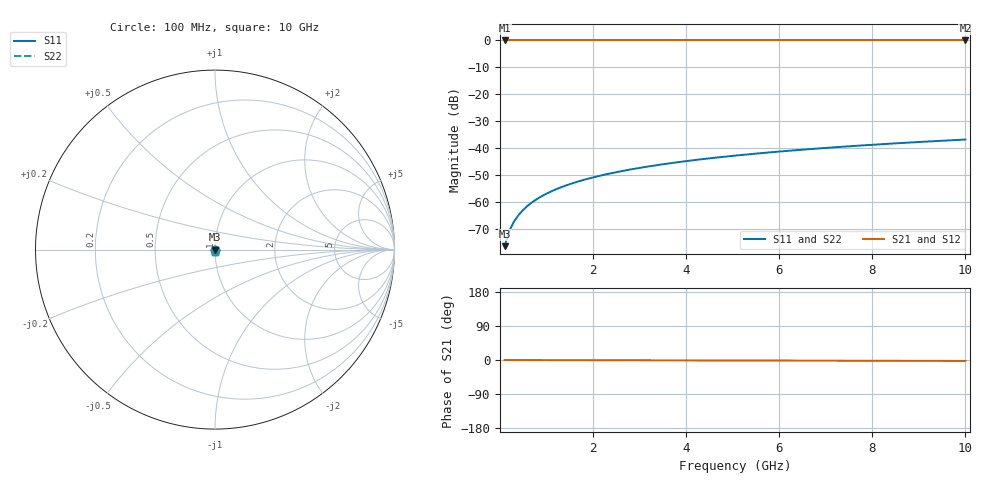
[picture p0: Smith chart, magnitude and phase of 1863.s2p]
# Hz S RI R 50.00
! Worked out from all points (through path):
!   100 points, 100 MHz to 10 GHz, reference 50 ohm
!   highest |S21| = 0.00 dB at 100 MHz (marker M1); lowest = 0.0 dB at 10 GHz (marker M2)
!   lowest |S11| = -76.4 dB at 100 MHz (marker M3), VSWR 1.00, Z = 50 - j0.0142 ohm
!   |S11| at or under -10 dB: start of sweep to end of sweep
!   |S22| runs from -76.4 to -36.8 dB; largest |S21 - S12| = 0
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1e8  4.93e-05 -0.000142  0.9999 -0.000438  0.9999 -0.000438  4.93e-05 -0.000142
2e8  4.91e-05 -0.000284  0.9999 -0.000877  0.9999 -0.000877  4.91e-05 -0.000284
3e8  4.88e-05 -0.000427  0.9999 -0.00131  0.9999 -0.00131  4.88e-05 -0.000427
4e8  4.83e-05 -0.000569  0.9999 -0.00175  0.9999 -0.00175  4.83e-05 -0.000569
5e8  4.76e-05 -0.000711  0.9999 -0.00219  0.9999 -0.00219  4.76e-05 -0.000711
6e8  4.68e-05 -0.000854  0.9999 -0.00263  0.9999 -0.00263  4.68e-05 -0.000854
7e8  4.59e-05 -0.000996  0.9999 -0.00307  0.9999 -0.00307  4.59e-05 -0.000996
8e8  4.48e-05 -0.00114  0.9999 -0.00351  0.9999 -0.00351  4.48e-05 -0.00114
9e8  4.36e-05 -0.00128  0.9999 -0.00395  0.9999 -0.00395  4.36e-05 -0.00128
1.1e9  4.08e-05 -0.00157  0.9999 -0.00482  0.9999 -0.00482  4.08e-05 -0.00157
1.4e9  3.55e-05 -0.00199  0.9999 -0.00614  0.9999 -0.00614  3.55e-05 -0.00199
1.8e9  2.68e-05 -0.00257  0.9999 -0.0079  0.9999 -0.0079  2.68e-05 -0.00257
2.1e9  1.89e-05 -0.00299  0.9999 -0.00922  0.9999 -0.00922  1.89e-05 -0.00299
2.5e9  6.49e-06 -0.00357  0.9999 -0.011  0.9999 -0.011  6.49e-06 -0.00357
2.9e9  -7.93e-06 -0.00414  0.9998 -0.0127  0.9998 -0.0127  -7.93e-06 -0.00414
3.4e9  -2.88e-05 -0.00486  0.9998 -0.015  0.9998 -0.015  -2.88e-05 -0.00486
4.2e9  -6.9e-05 -0.00601  0.9997 -0.0185  0.9997 -0.0185  -6.9e-05 -0.00601
5.1e9  -0.000124 -0.00731  0.9997 -0.0225  0.9997 -0.0225  -0.000124 -0.00731
5.9e9  -0.000182 -0.00847  0.9996 -0.026  0.9996 -0.026  -0.000182 -0.00847
6.7e9  -0.000248 -0.00963  0.9994 -0.0296  0.9994 -0.0296  -0.000248 -0.00963
8.4e9  -0.000417 -0.0121  0.9992 -0.0372  0.9992 -0.0372  -0.000417 -0.0121
1e10  -0.000611 -0.0144  0.9988 -0.0444  0.9988 -0.0444  -0.000611 -0.0144
